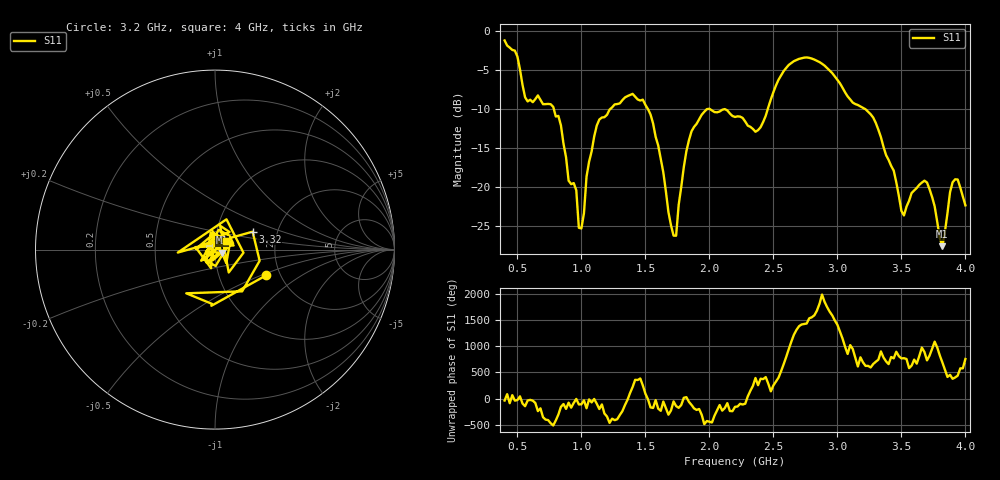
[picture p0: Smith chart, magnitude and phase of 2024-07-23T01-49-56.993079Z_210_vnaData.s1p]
!Created with skrf (http://scikit-rf.org).
# Hz S RI R 50.0
!freq ReS11 ImS11
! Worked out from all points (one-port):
!   181 points, 400 MHz to 4 GHz, reference 50 ohm
!   lowest |S11| = -27.6 dB at 3.82 GHz (marker M1), VSWR 1.09, Z = 53.9 - j1.91 ohm
!   |S11| at or under -10 dB: 783.9 MHz to 1.228 GHz (443.7 MHz wide, 44.1 % of centre); 1.518 GHz to 2.457 GHz (938.2 MHz wide, 47.2 % of centre); 3.212 GHz to end of sweep
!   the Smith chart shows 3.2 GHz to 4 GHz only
!   S11 on the Smith chart (normalised r, x): 3.2 GHz: 1.69, -0.54; 3.32 GHz: 1.49, +0.31; 4 GHz: 1.12, +0.11
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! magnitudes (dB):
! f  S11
! 400 MHz  -1.2
! 500 MHz  -3.3
! 560 MHz  -8.5
! 780 MHz  -9.8
! 860 MHz  -14.5
! 1 GHz  -25.3
! 1.04 GHz  -18.7
! 1.12 GHz  -12.2
! 1.3 GHz  -9.3
! 1.48 GHz  -8.8
! 1.6 GHz  -14.7
! 1.72 GHz  -26.3
! 1.76 GHz  -22.3
! 1.84 GHz  -14.0
! 1.94 GHz  -10.8
! 2.2 GHz  -11.1
! 2.38 GHz  -12.7
! 2.66 GHz  -3.9
! 2.88 GHz  -4.2
! 3.1 GHz  -8.8
! 3.2 GHz  -9.9
! 3.32 GHz  -12.7
! 3.5 GHz  -23.1
! 3.56 GHz  -21.8
! 3.7 GHz  -19.5
! 3.82 GHz  -27.6
! 3.9 GHz  -19.4
! 4 GHz  -22.4
